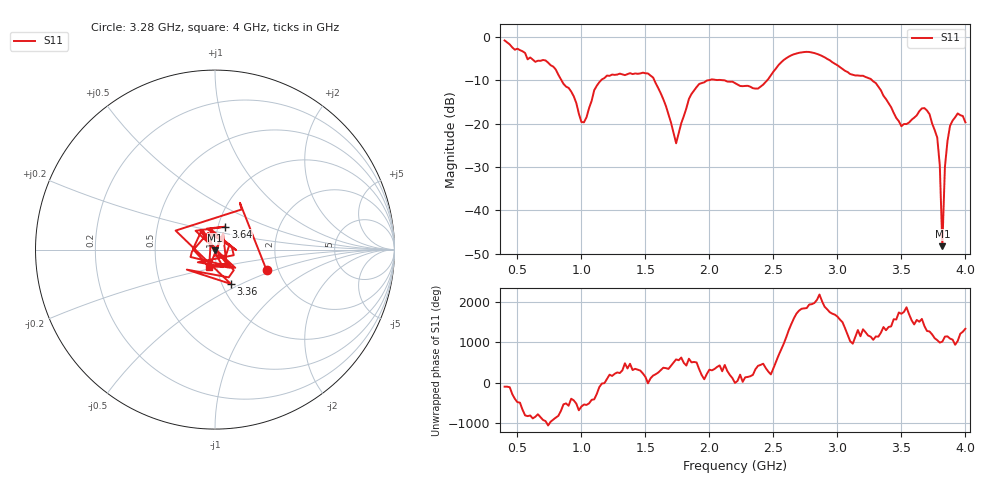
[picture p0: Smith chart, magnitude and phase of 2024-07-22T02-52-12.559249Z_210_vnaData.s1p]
!Created with skrf (http://scikit-rf.org).
# Hz S RI R 50.0
!freq ReS11 ImS11
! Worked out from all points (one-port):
!   181 points, 400 MHz to 4 GHz, reference 50 ohm
!   lowest |S11| = -48.2 dB at 3.82 GHz (marker M1), VSWR 1.01, Z = 50.2 - j0.355 ohm
!   |S11| at or under -10 dB: 1.571 GHz to 1.98 GHz (409.6 MHz wide, 23.1 % of centre); 2.122 GHz to 2.45 GHz (327.7 MHz wide, 14.3 % of centre); 3.273 GHz to end of sweep (the widest 3 of 4)
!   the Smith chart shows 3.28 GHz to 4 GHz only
!   S11 on the Smith chart (normalised r, x): 3.28 GHz: 1.74, -0.44; 3.36 GHz: 1.10, -0.44; 3.64 GHz: 1.08, +0.28; 4 GHz: 0.92, -0.19
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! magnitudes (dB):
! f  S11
! 400 MHz  -0.8
! 720 MHz  -5.4
! 860 MHz  -10.8
! 1.02 GHz  -19.6
! 1.14 GHz  -10.4
! 1.3 GHz  -8.4
! 1.56 GHz  -9.3
! 1.74 GHz  -24.5
! 1.76 GHz  -22.2
! 1.84 GHz  -14.2
! 1.92 GHz  -10.8
! 2.2 GHz  -10.6
! 2.38 GHz  -11.9
! 2.66 GHz  -3.9
! 3.1 GHz  -8.5
! 3.28 GHz  -10.2
! 3.36 GHz  -13.5
! 3.5 GHz  -20.5
! 3.56 GHz  -19.7
! 3.64 GHz  -17.1
! 3.72 GHz  -17.8
! 3.78 GHz  -23.2
! 3.8 GHz  -29.6
! 3.82 GHz  -48.2
! 3.84 GHz  -30.0
! 3.88 GHz  -20.5
! 3.94 GHz  -17.6
! 4 GHz  -19.7
